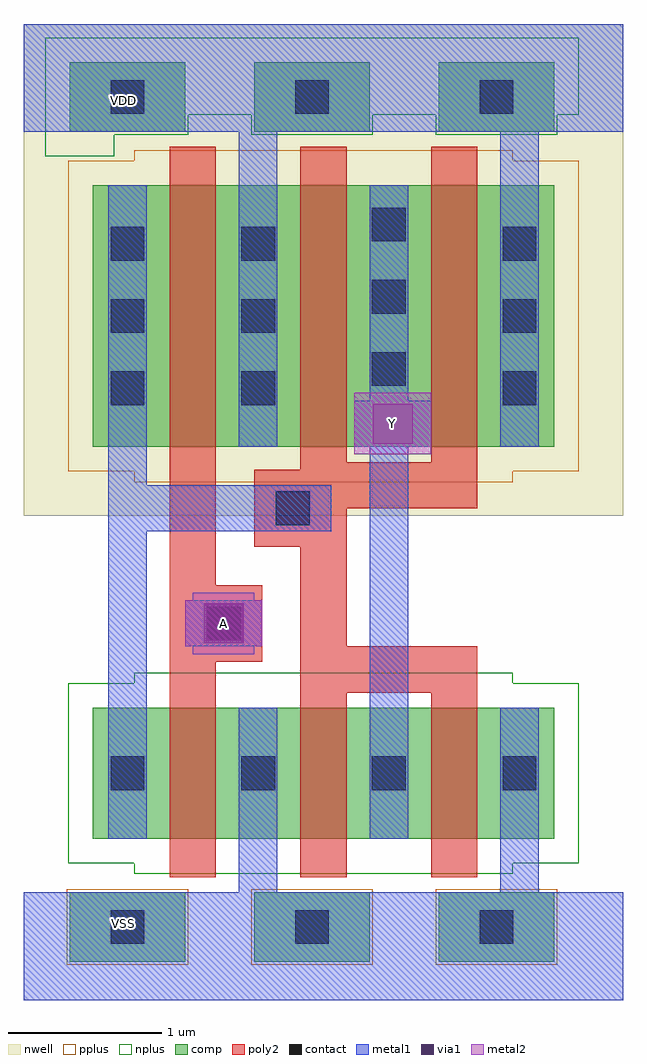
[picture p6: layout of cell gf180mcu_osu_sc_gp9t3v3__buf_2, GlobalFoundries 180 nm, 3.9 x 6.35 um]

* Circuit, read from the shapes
.subckt gf180mcu_osu_sc_gp9t3v3__buf_2 A VDD VSS Y
XM1 VSS A n1 VSS nfet_03v3 w=0.85u l=0.3u
XM2 Y n1 VSS VSS nfet_03v3 w=0.85u l=0.3u m=2
XM3 VDD A n1 VDD pfet_03v3 w=1.7u l=0.3u
XM4 Y n1 VDD VDD pfet_03v3 w=1.7u l=0.3u m=2
.ends

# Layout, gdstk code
import gdstk
lib = gdstk.Library(unit=1e-6, precision=1e-09)
def R(c, l, rs):  # rectangles x0, y0, x1, y1
    for r in rs: c.add(gdstk.rectangle(r[:2], r[2:], *l))
def A(c, l, x, y, w, h, nx, ny, dx, dy):  # array of equal rectangles
    R(c, l, [(x+i*dx, y+j*dy, x+i*dx+w, y+j*dy+h) for i in range(nx) for j in range(ny)])
nwell = (21, 0)
comp = (22, 0)
poly2 = (30, 0)
pplus = (31, 0)
nplus = (32, 0)
contact = (33, 0)
metal1 = (34, 0)
via1 = (35, 0)
metal2 = (36, 0)

gf180mcu_osu_sc_gp9t3v3_ = lib.new_cell('gf180mcu_osu_sc_gp9t3v3__buf_2')
R(gf180mcu_osu_sc_gp9t3v3_, nwell, [(0,3.15,3.9,6.35)])
A(gf180mcu_osu_sc_gp9t3v3_, comp, 0.3, 0.25, 0.75, 0.45, 3, 2, 1.2, 5.4)
R(gf180mcu_osu_sc_gp9t3v3_, comp, [(0.45,1.05,3.45,1.9), (0.45,3.6,3.45,5.3)])
R(gf180mcu_osu_sc_gp9t3v3_, poly2, [(0.95,0.8,1.25,2.2), (1.8,0.8,2.1,2), (2.65,0.8,2.95,2), (1.8,2,2.95,2.3), (0.95,2.2,1.55,2.7), (1.8,2.3,2.1,2.95), (0.95,2.7,1.25,5.55), (1.5,2.95,2.1,3.2), (1.5,3.2,2.95,3.45), (1.8,3.45,2.95,3.5), (1.8,3.5,2.1,5.55), (2.65,3.5,2.95,5.55)])
A(gf180mcu_osu_sc_gp9t3v3_, pplus, 0.28, 0.23, 0.79, 0.49, 3, 1, 1.2, 0)
R(gf180mcu_osu_sc_gp9t3v3_, pplus, [(0.72,3.37,3.18,3.44), (0.29,3.44,3.61,5.46), (0.72,5.46,3.18,5.53)])
R(gf180mcu_osu_sc_gp9t3v3_, nplus, [(0.72,0.82,3.18,0.89), (0.29,0.89,3.61,2.06), (0.72,2.06,3.18,2.13), (0.14,5.49,0.59,5.63), (0.14,5.63,1.07,5.76), (1.48,5.63,2.27,5.76), (2.68,5.63,3.47,5.76), (0.14,5.76,3.61,6.26)])
A(gf180mcu_osu_sc_gp9t3v3_, contact, 0.565, 0.365, 0.22, 0.22, 3, 2, 1.2, 5.4)
A(gf180mcu_osu_sc_gp9t3v3_, contact, 0.565, 1.365, 0.22, 0.22, 4, 1, 0.85, 0)
A(gf180mcu_osu_sc_gp9t3v3_, contact, 0.565, 3.87, 0.22, 0.22, 1, 3, 0, 0.47)
A(gf180mcu_osu_sc_gp9t3v3_, contact, 1.415, 3.87, 0.22, 0.22, 1, 3, 0, 0.47)
A(gf180mcu_osu_sc_gp9t3v3_, contact, 3.115, 3.87, 0.22, 0.22, 1, 3, 0, 0.47)
A(gf180mcu_osu_sc_gp9t3v3_, contact, 2.265, 3.995, 0.22, 0.22, 1, 3, 0, 0.47)
R(gf180mcu_osu_sc_gp9t3v3_, contact, [(1.19,2.34,1.41,2.56), (1.64,3.09,1.86,3.31)])
R(gf180mcu_osu_sc_gp9t3v3_, metal1, [(0,0,3.9,0.7), (1.4,0.7,1.65,1.9), (3.1,0.7,3.35,1.9), (0.55,1.05,0.8,3.05), (2.25,1.05,2.5,3.6), (1.05,2.3,1.55,2.6), (0.55,3.05,2,3.35), (0.55,3.35,0.8,5.3), (1.4,3.6,1.65,5.65), (2.15,3.6,2.65,3.9), (3.1,3.6,3.35,5.65), (2.25,3.9,2.5,5.3), (0,5.65,3.9,6.35)])
R(gf180mcu_osu_sc_gp9t3v3_, via1, [(1.17,2.32,1.43,2.58), (2.27,3.62,2.53,3.88)])
R(gf180mcu_osu_sc_gp9t3v3_, metal2, [(1.1,2.25,1.5,2.3), (1.05,2.3,1.55,2.6), (1.1,2.6,1.5,2.65), (2.15,3.55,2.65,3.95)])
gf180mcu_osu_sc_gp9t3v3_.add(gdstk.Label('VDD', (0.65,5.85), layer=34, texttype=10))
gf180mcu_osu_sc_gp9t3v3_.add(gdstk.Label('VSS', (0.65,0.5), layer=34, texttype=10))
gf180mcu_osu_sc_gp9t3v3_.add(gdstk.Label('A', (1.3,2.45), layer=36, texttype=10))
gf180mcu_osu_sc_gp9t3v3_.add(gdstk.Label('Y', (2.4,3.75), layer=36, texttype=10))

lib.write_gds('gf180mcu_osu_sc_gp9t3v3__buf_2.gds')
